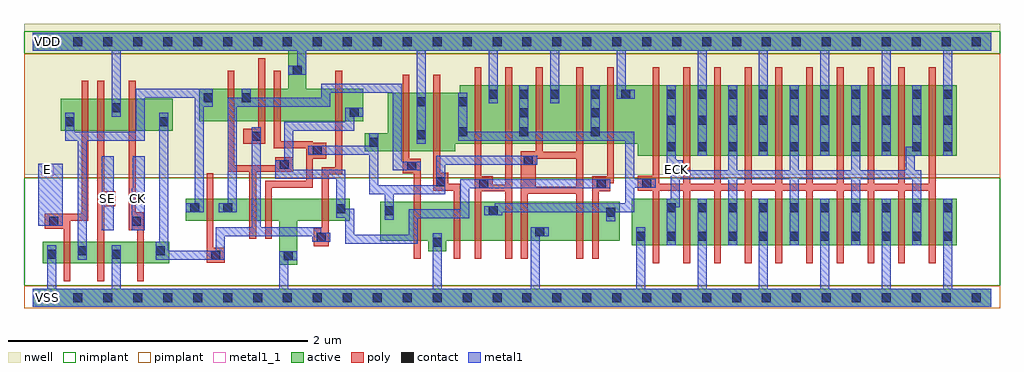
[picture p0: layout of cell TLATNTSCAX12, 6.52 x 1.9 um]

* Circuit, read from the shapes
.subckt TLATNTSCAX12 CK E ECK SE VDD VSS
M1 n1 E VSS VSS nfet w=0.145u l=0.045u
M2 VSS SE n1 VSS nfet w=0.145u l=0.045u
M3 n2 CK VSS VSS nfet w=0.145u l=0.045u
M4 n3 n2 n1 VSS nfet w=0.145u l=0.045u
M5 n4 n5 n3 VSS nfet w=0.145u l=0.045u
M6 VSS n6 n4 VSS nfet w=0.145u l=0.045u
M7 n5 n2 VSS VSS nfet w=0.145u l=0.045u
M8 VSS n3 n6 VSS nfet w=0.26u l=0.045u
M9 n7 n6 VSS VSS nfet w=0.26u l=0.045u
M10 n8 n5 n7 VSS nfet w=0.26u l=0.045u
M11 n9 n5 n8 VSS nfet w=0.26u l=0.045u
M12 VSS n6 n9 VSS nfet w=0.26u l=0.045u
M13 n10 n6 VSS VSS nfet w=0.26u l=0.045u
M14 n8 n5 n10 VSS nfet w=0.26u l=0.045u
M15 ECK n8 VSS VSS nfet w=0.31u l=0.045u m=10
M16 n11 E n1 VDD pfet w=0.215u l=0.045u
M17 VDD SE n11 VDD pfet w=0.215u l=0.045u
M18 n2 CK VDD VDD pfet w=0.215u l=0.045u
M19 n3 n5 n1 VDD pfet w=0.215u l=0.045u
M20 n12 n2 n3 VDD pfet w=0.215u l=0.045u
M21 VDD n6 n12 VDD pfet w=0.215u l=0.045u
M22 n5 n2 VDD VDD pfet w=0.215u l=0.045u
M23 VDD n3 n6 VDD pfet w=0.39u l=0.045u
M24 n8 n6 VDD VDD pfet w=0.39u l=0.045u m=3
M25 VDD n5 n8 VDD pfet w=0.39u l=0.045u m=3
M26 ECK n8 VDD VDD pfet w=0.47u l=0.045u m=10
.ends

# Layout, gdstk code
import gdstk
lib = gdstk.Library(unit=1e-6, precision=5e-10)
def R(c, l, rs):  # rectangles x0, y0, x1, y1
    for r in rs: c.add(gdstk.rectangle(r[:2], r[2:], *l))
def A(c, l, x, y, w, h, nx, ny, dx, dy):  # array of equal rectangles
    R(c, l, [(x+i*dx, y+j*dy, x+i*dx+w, y+j*dy+h) for i in range(nx) for j in range(ny)])
def P(c, l, *ps):  # polygons
    for p in ps: c.add(gdstk.Polygon(p, *l))
active = (1, 0)
nwell = (2, 0)
poly = (3, 0)
nimplant = (4, 0)
pimplant = (5, 0)
contact = (6, 0)
metal1 = (7, 0)
metal1_1 = (7, 1)

tlatntscax12 = lib.new_cell('TLATNTSCAX12')
R(tlatntscax12, active, [(0,-0.06,6.4,0.06), (0.065,0.23,0.91,0.375), (4,0.35,6.17,0.66), (0.185,1.115,0.935,1.33)])
P(tlatntscax12, active, [(0,1.77),(6.4,1.77),(6.4,1.65),(1.825,1.65),(1.825,1.395),(2.205,1.395),(2.205,1.18),(1.11,1.18),(1.11,1.395),(1.705,1.395),(1.705,1.65),(0,1.65)],
  [(2.85,1.42),(6.17,1.42),(6.17,0.95),(4.04,0.95),(4.04,1.03),(2.82,1.03),(2.82,0.98),(2.215,0.98),(2.215,1.1),(2.37,1.1),(2.37,1.37),(2.85,1.37)],
  [(1.02,0.66),(2.115,0.66),(2.115,0.515),(1.765,0.515),(1.765,0.22),(1.645,0.22),(1.645,0.515),(1.02,0.515)],
  [(2.32,0.64),(3.92,0.64),(3.92,0.38),(2.76,0.38),(2.76,0.31),(2.64,0.31),(2.64,0.38),(2.32,0.38)])
R(tlatntscax12, nwell, [(-0.06,0.82,6.46,1.83)])
P(tlatntscax12, poly, [(1.3,1.515),(1.345,1.515),(1.345,0.885),(1.62,0.885),(1.62,0.94),(1.74,0.94),(1.74,0.84),(1.49,0.84),(1.49,0.395),(1.445,0.395),(1.445,0.84),(1.3,0.84)],
  [(1.505,1.6),(1.55,1.6),(1.55,1.03),(1.405,1.03),(1.405,1.13),(1.505,1.13)],
  [(1.61,1.515),(1.655,1.515),(1.655,1.045),(1.87,1.045),(1.87,1.035),(1.96,1.035),(1.96,0.93),(1.87,0.93),(1.87,0.735),(1.595,0.735),(1.595,0.395),(1.55,0.395),(1.55,0.78),(1.825,0.78),(1.825,1),(1.61,1)],
  [(0.325,1.45),(0.37,1.45),(0.37,0.515),(0.25,0.515),(0.25,0.11),(0.205,0.11),(0.205,0.46),(0.08,0.46),(0.08,0.56),(0.325,0.56)],
  [(0.43,1.45),(0.475,1.45),(0.475,0.71),(0.55,0.71),(0.55,0.61),(0.475,0.61),(0.475,0.11),(0.43,0.11)],
  [(0.64,1.45),(0.685,1.45),(0.685,0.57),(0.74,0.57),(0.74,0.11),(0.695,0.11),(0.695,0.45),(0.64,0.45)],
  [(2.02,1.515),(2.065,1.515),(2.065,0.825),(1.975,0.825),(1.975,0.345),(1.875,0.345),(1.875,0.465),(1.93,0.465),(1.93,0.87),(2.02,0.87)],
  [(2.47,1.49),(2.515,1.49),(2.515,0.93),(2.59,0.93),(2.59,0.26),(2.545,0.26),(2.545,0.83),(2.47,0.83)],
  [(2.675,1.49),(2.72,1.49),(2.72,0.835),(2.775,0.835),(2.775,0.76),(2.855,0.76),(2.855,0.26),(2.81,0.26),(2.81,0.715),(2.675,0.715)],
  [(2.95,1.54),(2.995,1.54),(2.995,0.81),(3.07,0.81),(3.07,0.755),(3.155,0.755),(3.155,1.54),(3.2,1.54),(3.2,0.26),(3.155,0.26),(3.155,0.71),(2.995,0.71),(2.995,0.26),(2.95,0.26)],
  [(3.36,1.54),(3.405,1.54),(3.405,0.975),(3.63,0.975),(3.63,1.54),(3.675,1.54),(3.675,0.26),(3.63,0.26),(3.63,0.695),(3.305,0.695),(3.305,0.26),(3.26,0.26),(3.26,0.93),(3.36,0.93),(3.36,0.74),(3.63,0.74),(3.63,0.93),(3.26,0.93),(3.26,0.98),(3.36,0.98)],
  [(3.835,1.54),(3.88,1.54),(3.88,0.765),(3.855,0.765),(3.855,0.71),(3.78,0.71),(3.78,0.26),(3.735,0.26),(3.735,0.81),(3.835,0.81)],
  [(4.14,1.54),(4.185,1.54),(4.185,0.76),(4.345,0.76),(4.345,1.54),(4.39,1.54),(4.39,0.76),(4.55,0.76),(4.55,1.54),(4.595,1.54),(4.595,0.76),(4.755,0.76),(4.755,1.54),(4.8,1.54),(4.8,0.76),(4.96,0.76),(4.96,1.54),(5.005,1.54),(5.005,0.76),(5.165,0.76),(5.165,1.54),(5.21,1.54),(5.21,0.76),(5.37,0.76),(5.37,1.54),(5.415,1.54),(5.415,0.76),(5.575,0.76),(5.575,1.54),(5.62,1.54),(5.62,0.76),(5.78,0.76),(5.78,1.54),(5.825,1.54),(5.825,0.76),(5.985,0.76),(5.985,1.54),(6.03,1.54),(6.03,0.23),(5.985,0.23),(5.985,0.715),(5.825,0.715),(5.825,0.23),(5.78,0.23),(5.78,0.715),(5.62,0.715),(5.62,0.23),(5.575,0.23),(5.575,0.715),(5.415,0.715),(5.415,0.23),(5.37,0.23),(5.37,0.715),(5.21,0.715),(5.21,0.23),(5.165,0.23),(5.165,0.715),(5.005,0.715),(5.005,0.23),(4.96,0.23),(4.96,0.715),(4.8,0.715),(4.8,0.23),(4.755,0.23),(4.755,0.715),(4.595,0.715),(4.595,0.23),(4.55,0.23),(4.55,0.715),(4.39,0.715),(4.39,0.23),(4.345,0.23),(4.345,0.715),(4.185,0.715),(4.185,0.23),(4.14,0.23),(4.14,0.715),(4.04,0.715),(4.04,0.815),(4.14,0.815)],
  [(1.16,0.83),(1.205,0.83),(1.205,0.335),(1.28,0.335),(1.28,0.235),(1.16,0.235)])
R(tlatntscax12, nimplant, [(-0.06,0.08,6.46,0.8), (-0.06,1.63,6.46,1.78)])
R(tlatntscax12, pimplant, [(-0.06,-0.07,6.46,0.08), (-0.06,0.8,6.46,1.63)])
A(tlatntscax12, contact, 0.07, -0.03, 0.06, 0.06, 32, 2, 0.2, 1.71)
A(tlatntscax12, contact, 4.03, 0.38, 0.06, 0.06, 11, 1, 0.205, 0)
A(tlatntscax12, contact, 4.235, 0.57, 0.06, 0.06, 10, 2, 0.205, 0.41)
A(tlatntscax12, contact, 3.725, 1.08, 0.06, 0.06, 1, 3, 0, 0.125)
A(tlatntscax12, contact, 4.235, 1.155, 0.06, 0.06, 10, 2, 0.205, 0.175)
A(tlatntscax12, contact, 3.045, 1.33, 0.06, 0.06, 3, 1, 0.205, 0)
R(tlatntscax12, contact, [(1.675,0.25,1.735,0.31), (1.19,0.255,1.25,0.315), (0.095,0.26,0.155,0.32), (0.525,0.26,0.585,0.32), (0.3,0.285,0.36,0.345), (0.82,0.285,0.88,0.345), (2.67,0.34,2.73,0.4), (1.895,0.375,1.955,0.435), (3.355,0.41,3.415,0.47), (0.11,0.48,0.17,0.54), (0.66,0.48,0.72,0.54), (3.83,0.54,3.89,0.6), (2.35,0.55,2.41,0.61), (3.045,0.55,3.105,0.61), (2.025,0.565,2.085,0.625), (1.05,0.57,1.11,0.63), (1.27,0.57,1.33,0.63), (0.46,0.63,0.52,0.69), (2.98,0.73,3.04,0.79), (3.765,0.73,3.825,0.79), (4.07,0.735,4.13,0.795), (2.695,0.745,2.755,0.805), (2.5,0.85,2.56,0.91), (1.65,0.86,1.71,0.92), (3.28,0.89,3.34,0.95), (1.87,0.955,1.93,1.015), (2.245,1.01,2.305,1.07), (1.46,1.05,1.52,1.11), (2.565,1.06,2.625,1.12), (2.84,1.08,2.9,1.14), (3.25,1.08,3.31,1.14), (0.215,1.145,0.275,1.205), (0.845,1.145,0.905,1.205), (3.25,1.205,3.31,1.265), (2.115,1.21,2.175,1.27), (0.525,1.24,0.585,1.3), (2.565,1.28,2.625,1.34), (2.84,1.28,2.9,1.34), (1.14,1.305,1.2,1.365), (1.395,1.305,1.455,1.365), (3.93,1.33,3.99,1.39), (1.735,1.49,1.795,1.55)])
R(tlatntscax12, metal1, [(0.46,0.45,0.54,0.945), (0.035,0.48,0.2,0.895)])
P(tlatntscax12, metal1, [(0,1.77),(6.4,1.77),(6.4,1.65),(6.14,1.65),(6.14,0.95),(6.08,0.95),(6.08,1.65),(5.73,1.65),(5.73,0.95),(5.67,0.95),(5.67,1.65),(5.32,1.65),(5.32,0.95),(5.26,0.95),(5.26,1.65),(4.91,1.65),(4.91,0.95),(4.85,0.95),(4.85,1.65),(4.5,1.65),(4.5,0.95),(4.44,0.95),(4.44,1.65),(3.96,1.65),(3.96,1.39),(4.02,1.39),(4.02,1.33),(3.9,1.33),(3.9,1.65),(3.515,1.65),(3.515,1.3),(3.455,1.3),(3.455,1.65),(3.105,1.65),(3.105,1.3),(3.045,1.3),(3.045,1.65),(2.625,1.65),(2.625,1.03),(2.565,1.03),(2.565,1.65),(1.825,1.65),(1.825,1.49),(1.705,1.49),(1.705,1.55),(1.765,1.55),(1.765,1.65),(0.585,1.65),(0.585,1.21),(0.525,1.21),(0.525,1.65),(0,1.65)],
  [(1.395,1.395),(1.455,1.395),(1.455,1.335),(1.925,1.335),(1.925,1.43),(2.465,1.43),(2.465,0.91),(2.59,0.91),(2.59,0.85),(2.405,0.85),(2.405,1.37),(1.985,1.37),(1.985,1.275),(1.36,1.275),(1.36,0.57),(1.24,0.57),(1.24,0.63),(1.3,0.63),(1.3,1.335),(1.395,1.335)],
  [(0.685,1.395),(1.2,1.395),(1.2,1.275),(1.14,1.275),(1.14,0.57),(1.02,0.57),(1.02,0.63),(1.08,0.63),(1.08,1.335),(0.745,1.335),(0.745,1.05),(0.36,1.05),(0.36,0.255),(0.3,0.255),(0.3,1.05),(0.215,1.05),(0.215,1.235),(0.275,1.235),(0.275,1.11),(0.685,1.11)],
  [(2.085,1.27),(2.205,1.27),(2.205,1.21),(2.145,1.21),(2.145,1.115),(1.74,1.115),(1.74,0.855),(2.085,0.855),(2.085,0.595),(2.145,0.595),(2.145,0.42),(2.51,0.42),(2.51,0.59),(2.855,0.59),(2.855,0.79),(3.855,0.79),(3.855,0.73),(2.915,0.73),(2.915,0.53),(2.57,0.53),(2.57,0.36),(2.085,0.36),(2.085,0.535),(2.025,0.535),(2.025,0.795),(1.62,0.795),(1.62,0.92),(1.68,0.92),(1.68,1.175),(2.085,1.175)],
  [(0.845,1.235),(0.905,1.235),(0.905,0.315),(1.22,0.315),(1.22,0.47),(1.46,0.47),(1.46,1.14),(1.52,1.14),(1.52,0.47),(1.925,0.47),(1.925,0.435),(1.985,0.435),(1.985,0.375),(1.865,0.375),(1.865,0.41),(1.28,0.41),(1.28,0.255),(0.82,0.255),(0.82,0.375),(0.845,0.375)],
  [(0.665,0.945),(0.745,0.945),(0.745,0.45),(0.66,0.45),(0.66,0.73),(0.665,0.73)],
  [(0.095,0.35),(0.155,0.35),(0.155,0.06),(0.525,0.06),(0.525,0.35),(0.585,0.35),(0.585,0.06),(1.645,0.06),(1.645,0.31),(1.765,0.31),(1.765,0.25),(1.705,0.25),(1.705,0.06),(2.67,0.06),(2.67,0.43),(2.73,0.43),(2.73,0.06),(3.325,0.06),(3.325,0.47),(3.445,0.47),(3.445,0.41),(3.385,0.41),(3.385,0.06),(4.03,0.06),(4.03,0.47),(4.09,0.47),(4.09,0.06),(4.44,0.06),(4.44,0.66),(4.5,0.66),(4.5,0.06),(4.85,0.06),(4.85,0.66),(4.91,0.66),(4.91,0.06),(5.26,0.06),(5.26,0.66),(5.32,0.66),(5.32,0.06),(5.67,0.06),(5.67,0.66),(5.73,0.66),(5.73,0.06),(6.08,0.06),(6.08,0.66),(6.14,0.66),(6.14,0.06),(6.4,0.06),(6.4,-0.06),(0,-0.06),(0,0.06),(0.095,0.06)],
  [(2.245,1.1),(2.305,1.1),(2.305,0.75),(2.695,0.75),(2.695,0.95),(3.37,0.95),(3.37,0.89),(2.755,0.89),(2.755,0.69),(2.41,0.69),(2.41,0.52),(2.35,0.52),(2.35,0.69),(2.245,0.69),(2.245,0.955),(1.84,0.955),(1.84,1.015),(2.245,1.015)],
  [(2.84,1.37),(2.9,1.37),(2.9,1.11),(3.25,1.11),(3.25,1.42),(3.31,1.42),(3.31,1.11),(3.725,1.11),(3.725,1.42),(3.785,1.42),(3.785,1.11),(4.015,1.11),(4.015,0.795),(4.16,0.795),(4.16,0.735),(4.015,0.735),(4.015,0.57),(3.89,0.57),(3.89,0.51),(3.83,0.51),(3.83,0.57),(3.135,0.57),(3.135,0.55),(3.015,0.55),(3.015,0.61),(3.085,0.61),(3.085,0.63),(3.955,0.63),(3.955,1.05),(2.84,1.05)],
  [(4.235,1.42),(4.295,1.42),(4.295,0.925),(4.3,0.925),(4.3,0.92),(4.34,0.92),(4.34,0.85),(4.645,0.85),(4.645,1.42),(4.705,1.42),(4.705,0.85),(5.055,0.85),(5.055,1.42),(5.115,1.42),(5.115,0.85),(5.465,0.85),(5.465,1.42),(5.525,1.42),(5.525,0.85),(5.83,0.85),(5.83,1.01),(5.875,1.01),(5.875,1.42),(5.935,1.42),(5.935,0.95),(5.89,0.95),(5.89,0.85),(5.935,0.85),(5.935,0.35),(5.875,0.35),(5.875,0.79),(5.525,0.79),(5.525,0.35),(5.465,0.35),(5.465,0.79),(5.115,0.79),(5.115,0.35),(5.055,0.35),(5.055,0.79),(4.705,0.79),(4.705,0.35),(4.645,0.35),(4.645,0.79),(4.32,0.79),(4.32,0.605),(4.295,0.605),(4.295,0.35),(4.235,0.35),(4.235,0.66),(4.26,0.66),(4.26,0.87),(4.235,0.87)])
A(tlatntscax12, metal1_1, 0.06, -0.04, 0.08, 0.08, 1, 3, 0, 0.855)
R(tlatntscax12, metal1_1, [(0.46,0.625,0.54,0.705), (0.66,0.625,0.74,0.705), (4.26,0.815,4.34,0.895)])
tlatntscax12.add(gdstk.Label('ECK', (4.3,0.855), layer=7, texttype=1))
tlatntscax12.add(gdstk.Label('CK', (0.7,0.665), layer=7, texttype=1))
tlatntscax12.add(gdstk.Label('SE', (0.5,0.665), layer=7, texttype=1))
tlatntscax12.add(gdstk.Label('E', (0.1,0.855), layer=7, texttype=1))
tlatntscax12.add(gdstk.Label('VDD', (0.1,1.71), layer=7, texttype=1))
tlatntscax12.add(gdstk.Label('VSS', (0.1,0), layer=7, texttype=1))
tlatntscax12.add(gdstk.Label('TLATNTSCAX12', (0,0), layer=63, texttype=0))

lib.write_gds('TLATNTSCAX12.gds')
